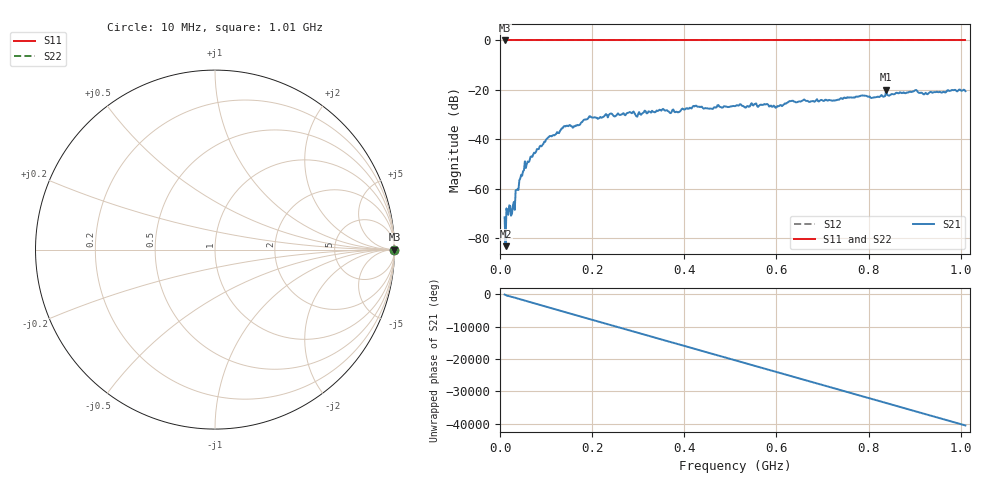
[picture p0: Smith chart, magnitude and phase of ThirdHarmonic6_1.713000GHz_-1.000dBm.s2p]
! 8/16/2025 8:36:41 PM
! C:\ANRITSUVNA\TEMP\TEMP.S2P
! CHANNEL.1
! TR.MEASUREMENT
! RAW.DATA
! RF.CORRECTION.OFF
! AVERAGING.OFF
! IF.BANDWIDTH: 5KHZ
! SWEEPTYPE:  FREQ.SWEEP(Linear)
! Reference Plane Port Info
! PORT:  PORT1  PORT2
! DISTANCE:  0  m  0  m
! TIME:  0  s  0  s
! PHASE.OFFSET:  0  deg.  0  deg.
! LOSS:  0  dB  0  dB
! REF.LOSS:  0  dB  0  dB
! REF.FREQ:  0  Hz  0  Hz
! Power Info
! POWER:  -20  dBm  -20  dBm
! EFF.POWER:  -20  dBm  -20  dBm
! SOURCE.ATTEN:  0  dB  0  dB
! TEST.ATTEN:  0  dB  0  dB
# GHZ S RI R 50.0
! FREQ.GHZ  S11RE  S11IM  S21RE  S21IM  S12RE  S12IM  S22RE  S22IM
!; PortSelection: Port_12
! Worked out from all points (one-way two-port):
!   501 points, 10 MHz to 1.01 GHz, reference 50 ohm
!   highest |S21| = -19.82 dB at 838 MHz (marker M1); lowest = -83.1 dB at 12 MHz (marker M2)
!   lowest |S11| = 0.0 dB at 10 MHz (marker M3)
!   |S11| at or under -10 dB: nowhere
!   |S22| runs from 0.0 to 0.0 dB; largest |S21 - S12| = 1.1
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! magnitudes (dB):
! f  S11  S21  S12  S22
! 10 MHz  0.0  -71.4  0.0  0.0
! 12 MHz  0.0  -83.1  0.0  0.0
! 16 MHz  0.0  -69.3  0.0  0.0
! 18 MHz  0.0  -70.5  0.0  0.0
! 28 MHz  0.0  -66.7  0.0  0.0
! 38 MHz  0.0  -60.2  0.0  0.0
! 50 MHz  0.0  -52.9  0.0  0.0
! 70 MHz  0.0  -47.1  0.0  0.0
! 104 MHz  0.0  -39.4  0.0  0.0
! 138 MHz  0.0  -34.8  0.0  0.0
! 178 MHz  0.0  -33.0  0.0  0.0
! 196 MHz  0.0  -30.7  0.0  0.0
! 344 MHz  0.0  -28.4  0.0  0.0
! 510 MHz  0.0  -26.6  0.0  0.0
! 600 MHz  0.0  -27.0  0.0  0.0
! 632 MHz  0.0  -24.5  0.0  0.0
! 678 MHz  0.0  -24.6  0.0  0.0
! 838 MHz  0.0  -19.8  0.0  0.0
! 844 MHz  0.0  -22.3  0.0  0.0
! 900 MHz  0.0  -20.3  0.0  0.0
! 924 MHz  0.0  -21.1  0.0  0.0
! 1.01 GHz  0.0  -20.5  0.0  0.0
